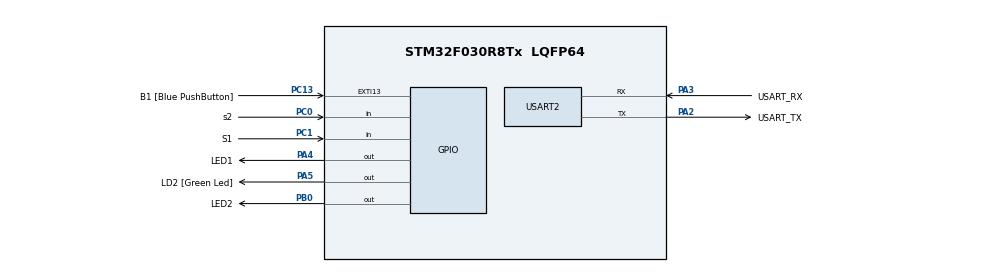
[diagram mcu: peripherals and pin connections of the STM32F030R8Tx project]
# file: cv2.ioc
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Mcu.Family=STM32F0
Mcu.Name=STM32F030R8Tx
Mcu.Package=LQFP64
PA13.GPIO_Label=TMS
PA13.Mode=Serial_Wire
PA13.Signal=SYS_SWDIO
PA14.GPIO_Label=TCK
PA14.Mode=Serial_Wire
PA14.Signal=SYS_SWCLK
PA2.GPIO_Label=USART_TX
PA2.GPIO_Mode=GPIO_MODE_AF_PP
PA2.GPIO_PuPd=GPIO_NOPULL
PA2.GPIO_Speed=GPIO_SPEED_FREQ_LOW
PA2.Mode=Asynchronous
PA2.Signal=USART2_TX
PA3.GPIO_Label=USART_RX
PA3.GPIO_Mode=GPIO_MODE_AF_PP
PA3.GPIO_PuPd=GPIO_NOPULL
PA3.GPIO_Speed=GPIO_SPEED_FREQ_LOW
PA3.Mode=Asynchronous
PA3.Signal=USART2_RX
PA4.GPIO_Label=LED1
PA4.Signal=GPIO_Output
PA5.GPIO_Label=LD2 [Green Led]
PA5.GPIO_Mode=GPIO_MODE_OUTPUT_PP
PA5.GPIO_PuPd=GPIO_NOPULL
PA5.GPIO_Speed=GPIO_SPEED_FREQ_LOW
PA5.Signal=GPIO_Output
PB0.GPIO_Label=LED2
PB0.Signal=GPIO_Output
PC0.GPIO_Label=s2
PC0.GPIO_PuPd=GPIO_PULLUP
PC0.Signal=GPIO_Input
PC1.GPIO_Label=S1
PC1.GPIO_PuPd=GPIO_PULLUP
PC1.Signal=GPIO_Input
PC13.GPIO_Label=B1 [Blue PushButton]
PC13.GPIO_ModeDefaultEXTI=GPIO_MODE_IT_FALLING
PC13.Signal=GPXTI13
PC14-OSC32_IN.Mode=LSE-External-Oscillator
PC14-OSC32_IN.Signal=RCC_OSC32_IN
PC15-OSC32_OUT.Mode=LSE-External-Oscillator
PC15-OSC32_OUT.Signal=RCC_OSC32_OUT
PF0-OSC_IN.Mode=HSE-External-Clock-Source
PF0-OSC_IN.Signal=RCC_OSC_IN
PF1-OSC_OUT.Signal=RCC_OSC_OUT
ProjectManager.HeapSize=0x200
ProjectManager.StackSize=0x400
ProjectManager.TargetToolchain=STM32CubeIDE
RCC.AHBFreq_Value=48000000
RCC.APB1Freq_Value=48000000
RCC.APB1TimFreq_Value=48000000
RCC.HCLKFreq_Value=48000000
RCC.PLLMUL=RCC_PLL_MUL12
RCC.SYSCLKFreq_VALUE=48000000
RCC.SYSCLKSource=RCC_SYSCLKSOURCE_PLLCLK
USART2.VirtualMode-Asynchronous=VM_ASYNC
board=NUCLEO-F030R8

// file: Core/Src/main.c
/* USER CODE BEGIN Header */
/**
  ******************************************************************************
  * @file           : main.c
  * @brief          : Main program body
  ******************************************************************************
  * @attention
  *
  * Copyright (c) 2023 STMicroelectronics.
  * All rights reserved.
  *
  * This software is licensed under terms that can be found in the LICENSE file
  * in the root directory of this software component.
  * If no LICENSE file comes with this software, it is provided AS-IS.
  *
  ******************************************************************************
  */
/* USER CODE END Header */
#include "main.h"

/* USER CODE BEGIN Includes */
extern volatile uint32_t Tick;
/* USER CODE END Includes */

/* USER CODE BEGIN PD */
#define LED_TIME_BLINK 300
#define LED_TIME_SHORT 100
#define LED_TIME_LONG 1000
#define DELAY_DEBOUNCE 5
/* USER CODE END PD */

/* USER CODE BEGIN PV */
volatile uint32_t Tick;
static uint32_t off_time;
/* USER CODE END PV */

void SystemClock_Config(void);
static void MX_GPIO_Init(void);
static void MX_USART2_UART_Init(void);

/* USER CODE BEGIN 0 */

void blikac(void) {
	static uint32_t delay;

	if (Tick > delay + LED_TIME_BLINK) {
		LL_GPIO_TogglePin(LED1_GPIO_Port, LED1_Pin);
		delay = Tick;
	}
}

void tlacitka(void) {
	//pushbutton s1
	static uint16_t debounce_s1 = 0xFFFF;

	debounce_s1 <<= 1;
	uint32_t shift = LL_GPIO_IsInputPinSet(S1_GPIO_Port, S1_Pin);
	if (shift) {
		debounce_s1 |= 0x0001;
	}
	if (debounce_s1 == 0x7FFF) {
		off_time = Tick + LED_TIME_LONG;
		LL_GPIO_SetOutputPin(LED2_GPIO_Port, LED2_Pin);
	}

	// pushbutton s2
	static uint16_t debounce_s2 = 0xFFFF;
	debounce_s2 <<= 1;
	uint32_t shift2 = LL_GPIO_IsInputPinSet(s2_GPIO_Port, s2_Pin);
	if (shift2) {
		debounce_s2 |= 0x0001;
	}
	if (debounce_s2 == 0x7FFF) {
		off_time = Tick + LED_TIME_SHORT;
		LL_GPIO_SetOutputPin(LED2_GPIO_Port, LED2_Pin);
	}
}

void volac(void) {
	static uint32_t delay_2;

	if (Tick > delay_2 + DELAY_DEBOUNCE) {
		tlacitka();
		delay_2 = Tick;
		if (Tick > off_time) {
			LL_GPIO_ResetOutputPin(LED2_GPIO_Port, LED2_Pin);
		}
	}

}

/* USER CODE END 0 */

int main(void)
{

  /* MCU Configuration--------------------------------------------------------*/

  /* Reset of all peripherals, Initializes the Flash interface and the Systick. */
  LL_APB1_GRP2_EnableClock(LL_APB1_GRP2_PERIPH_SYSCFG);
  LL_APB1_GRP1_EnableClock(LL_APB1_GRP1_PERIPH_PWR);

  /* Configure the system clock */
  SystemClock_Config();

  /* Initialize all configured peripherals */
  MX_GPIO_Init();
  MX_USART2_UART_Init();
  /* USER CODE BEGIN 2 */
  LL_SYSTICK_EnableIT();
  /* USER CODE END 2 */

  /* Infinite loop */
  /* USER CODE BEGIN WHILE */
  while (1)
  {
	  blikac();
	  volac();
    /* USER CODE END WHILE */

  }
}

void SystemClock_Config(void)
{
  LL_FLASH_SetLatency(LL_FLASH_LATENCY_1);
  while(LL_FLASH_GetLatency() != LL_FLASH_LATENCY_1)
  {
  }
  LL_RCC_HSI_Enable();

   /* Wait till HSI is ready */
  while(LL_RCC_HSI_IsReady() != 1)
  {

  }
  LL_RCC_HSI_SetCalibTrimming(16);
  LL_RCC_PLL_ConfigDomain_SYS(LL_RCC_PLLSOURCE_HSI_DIV_2, LL_RCC_PLL_MUL_12);
  LL_RCC_PLL_Enable();

   /* Wait till PLL is ready */
  while(LL_RCC_PLL_IsReady() != 1)
  {

  }
  LL_RCC_SetAHBPrescaler(LL_RCC_SYSCLK_DIV_1);
  LL_RCC_SetAPB1Prescaler(LL_RCC_APB1_DIV_1);
  LL_RCC_SetSysClkSource(LL_RCC_SYS_CLKSOURCE_PLL);

   /* Wait till System clock is ready */
  while(LL_RCC_GetSysClkSource() != LL_RCC_SYS_CLKSOURCE_STATUS_PLL)
  {

  }
  LL_Init1msTick(48000000);
  LL_SetSystemCoreClock(48000000);
}

static void MX_USART2_UART_Init(void)
{

  LL_USART_InitTypeDef USART_InitStruct = {0};

  LL_GPIO_InitTypeDef GPIO_InitStruct = {0};

  /* Peripheral clock enable */
  LL_APB1_GRP1_EnableClock(LL_APB1_GRP1_PERIPH_USART2);

  LL_AHB1_GRP1_EnableClock(LL_AHB1_GRP1_PERIPH_GPIOA);
  /**USART2 GPIO Configuration
  PA2   ------> USART2_TX
  PA3   ------> USART2_RX
  */
  GPIO_InitStruct.Pin = USART_TX_Pin;
  GPIO_InitStruct.Mode = LL_GPIO_MODE_ALTERNATE;
  GPIO_InitStruct.Speed = LL_GPIO_SPEED_FREQ_LOW;
  GPIO_InitStruct.OutputType = LL_GPIO_OUTPUT_PUSHPULL;
  GPIO_InitStruct.Pull = LL_GPIO_PULL_NO;
  GPIO_InitStruct.Alternate = LL_GPIO_AF_1;
  LL_GPIO_Init(USART_TX_GPIO_Port, &GPIO_InitStruct);

  GPIO_InitStruct.Pin = USART_RX_Pin;
  GPIO_InitStruct.Mode = LL_GPIO_MODE_ALTERNATE;
  GPIO_InitStruct.Speed = LL_GPIO_SPEED_FREQ_LOW;
  GPIO_InitStruct.OutputType = LL_GPIO_OUTPUT_PUSHPULL;
  GPIO_InitStruct.Pull = LL_GPIO_PULL_NO;
  GPIO_InitStruct.Alternate = LL_GPIO_AF_1;
  LL_GPIO_Init(USART_RX_GPIO_Port, &GPIO_InitStruct);

  USART_InitStruct.BaudRate = 38400;
  USART_InitStruct.DataWidth = LL_USART_DATAWIDTH_8B;
  USART_InitStruct.StopBits = LL_USART_STOPBITS_1;
  USART_InitStruct.Parity = LL_USART_PARITY_NONE;
  USART_InitStruct.TransferDirection = LL_USART_DIRECTION_TX_RX;
  USART_InitStruct.HardwareFlowControl = LL_USART_HWCONTROL_NONE;
  USART_InitStruct.OverSampling = LL_USART_OVERSAMPLING_16;
  LL_USART_Init(USART2, &USART_InitStruct);
  LL_USART_DisableIT_CTS(USART2);
  LL_USART_ConfigAsyncMode(USART2);
  LL_USART_Enable(USART2);

}

static void MX_GPIO_Init(void)
{
  LL_EXTI_InitTypeDef EXTI_InitStruct = {0};
  LL_GPIO_InitTypeDef GPIO_InitStruct = {0};

  /* GPIO Ports Clock Enable */
  LL_AHB1_GRP1_EnableClock(LL_AHB1_GRP1_PERIPH_GPIOC);
  LL_AHB1_GRP1_EnableClock(LL_AHB1_GRP1_PERIPH_GPIOF);
  LL_AHB1_GRP1_EnableClock(LL_AHB1_GRP1_PERIPH_GPIOA);
  LL_AHB1_GRP1_EnableClock(LL_AHB1_GRP1_PERIPH_GPIOB);

  /**/
  LL_GPIO_ResetOutputPin(LED1_GPIO_Port, LED1_Pin);

  /**/
  LL_GPIO_ResetOutputPin(LD2_GPIO_Port, LD2_Pin);

  /**/
  LL_GPIO_ResetOutputPin(LED2_GPIO_Port, LED2_Pin);

  /**/
  LL_SYSCFG_SetEXTISource(LL_SYSCFG_EXTI_PORTC, LL_SYSCFG_EXTI_LINE13);

  /**/
  LL_GPIO_SetPinPull(B1_GPIO_Port, B1_Pin, LL_GPIO_PULL_NO);

  /**/
  LL_GPIO_SetPinMode(B1_GPIO_Port, B1_Pin, LL_GPIO_MODE_INPUT);

  /**/
  EXTI_InitStruct.Line_0_31 = LL_EXTI_LINE_13;
  EXTI_InitStruct.LineCommand = ENABLE;
  EXTI_InitStruct.Mode = LL_EXTI_MODE_IT;
  EXTI_InitStruct.Trigger = LL_EXTI_TRIGGER_FALLING;
  LL_EXTI_Init(&EXTI_InitStruct);

  /**/
  GPIO_InitStruct.Pin = s2_Pin;
  GPIO_InitStruct.Mode = LL_GPIO_MODE_INPUT;
  GPIO_InitStruct.Pull = LL_GPIO_PULL_UP;
  LL_GPIO_Init(s2_GPIO_Port, &GPIO_InitStruct);

  /**/
  GPIO_InitStruct.Pin = S1_Pin;
  GPIO_InitStruct.Mode = LL_GPIO_MODE_INPUT;
  GPIO_InitStruct.Pull = LL_GPIO_PULL_UP;
  LL_GPIO_Init(S1_GPIO_Port, &GPIO_InitStruct);

  /**/
  GPIO_InitStruct.Pin = LED1_Pin;
  GPIO_InitStruct.Mode = LL_GPIO_MODE_OUTPUT;
  GPIO_InitStruct.Speed = LL_GPIO_SPEED_FREQ_LOW;
  GPIO_InitStruct.OutputType = LL_GPIO_OUTPUT_PUSHPULL;
  GPIO_InitStruct.Pull = LL_GPIO_PULL_NO;
  LL_GPIO_Init(LED1_GPIO_Port, &GPIO_InitStruct);

  /**/
  GPIO_InitStruct.Pin = LD2_Pin;
  GPIO_InitStruct.Mode = LL_GPIO_MODE_OUTPUT;
  GPIO_InitStruct.Speed = LL_GPIO_SPEED_FREQ_LOW;
  GPIO_InitStruct.OutputType = LL_GPIO_OUTPUT_PUSHPULL;
  GPIO_InitStruct.Pull = LL_GPIO_PULL_NO;
  LL_GPIO_Init(LD2_GPIO_Port, &GPIO_InitStruct);

  /**/
  GPIO_InitStruct.Pin = LED2_Pin;
  GPIO_InitStruct.Mode = LL_GPIO_MODE_OUTPUT;
  GPIO_InitStruct.Speed = LL_GPIO_SPEED_FREQ_LOW;
  GPIO_InitStruct.OutputType = LL_GPIO_OUTPUT_PUSHPULL;
  GPIO_InitStruct.Pull = LL_GPIO_PULL_NO;
  LL_GPIO_Init(LED2_GPIO_Port, &GPIO_InitStruct);

}

void Error_Handler(void)
{
  __disable_irq();
  while (1)
  {
  }
}
